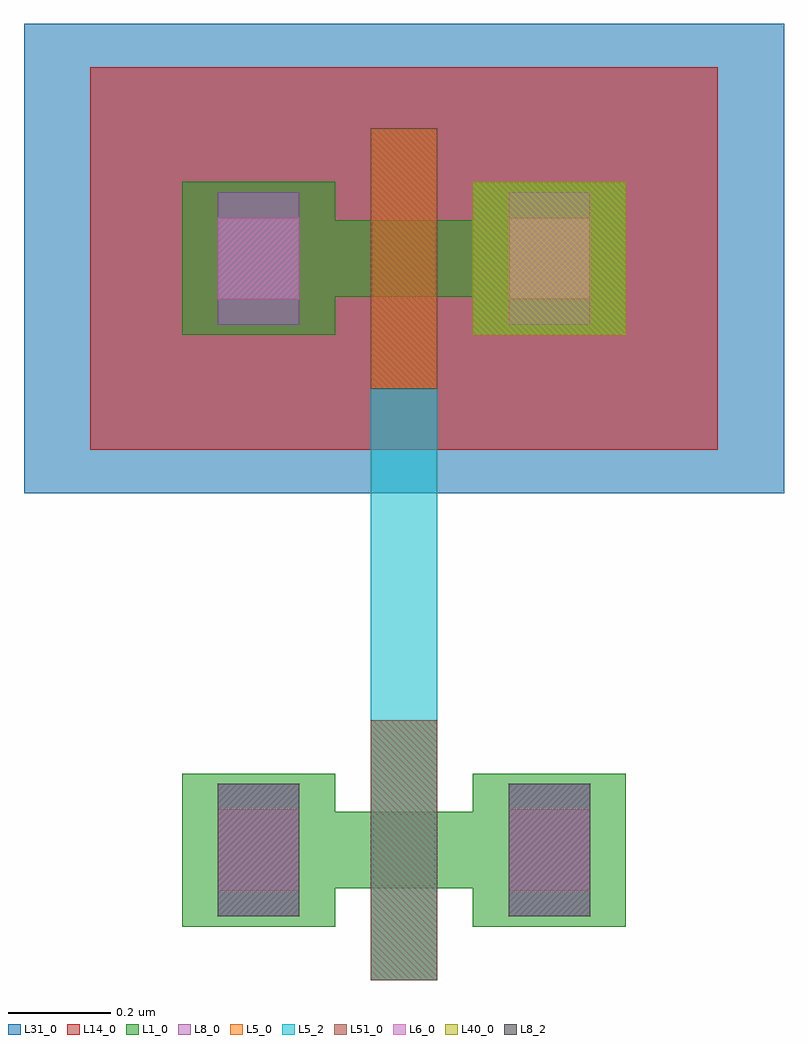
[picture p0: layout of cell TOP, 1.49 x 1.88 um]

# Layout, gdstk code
import gdstk
lib = gdstk.Library(unit=1e-6, precision=5e-09)
def R(c, l, rs):  # rectangles x0, y0, x1, y1
    for r in rs: c.add(gdstk.rectangle(r[:2], r[2:], *l))
L1_0 = (1, 0)
L5_0 = (5, 0)
L5_2 = (5, 2)
L6_0 = (6, 0)
L8_0 = (8, 0)
L8_2 = (8, 2)
L14_0 = (14, 0)
L31_0 = (31, 0)
L40_0 = (40, 0)
L51_0 = (51, 0)

nmos = lib.new_cell('nmos')
R(nmos, L1_0, [(0,0,0.3,0.3), (0.57,0,0.87,0.3), (0,0.075,0.87,0.225)])
R(nmos, L5_0, [(0.37,-0.105,0.5,0.405)])
R(nmos, L5_2, [(0.37,-0.105,0.5,0.405)])
R(nmos, L6_0, [(0.07,0.07,0.23,0.23), (0.64,0.07,0.8,0.23)])
R(nmos, L8_0, [(0.07,0.02,0.23,0.28), (0.64,0.02,0.8,0.28)])
R(nmos, L8_2, [(0.07,0.02,0.23,0.28), (0.64,0.02,0.8,0.28)])
R(nmos, L51_0, [(0.37,-0.105,0.5,0.405)])
nmos.add(gdstk.Label('nmos', (0.435,0.15), layer=63, texttype=0))
nmos.add(gdstk.Label('nmos', (0.435,0.15), layer=51, texttype=0))

pmos = lib.new_cell('pmos')
R(pmos, L1_0, [(0,0,0.3,0.3), (0.57,0,0.87,0.3), (0,0.075,0.87,0.225)])
R(pmos, L5_0, [(0.37,-0.105,0.5,0.405), (0.37,-0.105,0.5,0.405)])
R(pmos, L6_0, [(0.07,0.07,0.23,0.23), (0.64,0.07,0.8,0.23)])
R(pmos, L8_0, [(0.07,0.02,0.23,0.28), (0.07,0.02,0.23,0.28), (0.64,0.02,0.8,0.28), (0.64,0.02,0.8,0.28)])
R(pmos, L14_0, [(-0.18,-0.225,1.05,0.525)])
R(pmos, L31_0, [(-0.31,-0.31,1.18,0.61)])
R(pmos, L40_0, [(0.57,0,0.87,0.3)])
R(pmos, L51_0, [(0.37,-0.105,0.5,0.405)])
pmos.add(gdstk.Label('pmos', (0.435,0.15), layer=63, texttype=0))
pmos.add(gdstk.Label('pmos', (0.435,0.15), layer=51, texttype=0))

top = lib.new_cell('TOP')
R(top, L5_2, [(-0.14,-0.29,-0.01,0.36)])
top.add(gdstk.Reference(nmos, (-0.51,-0.695)))
top.add(gdstk.Reference(pmos, (-0.51,0.465)))

lib.write_gds('TOP.gds')
